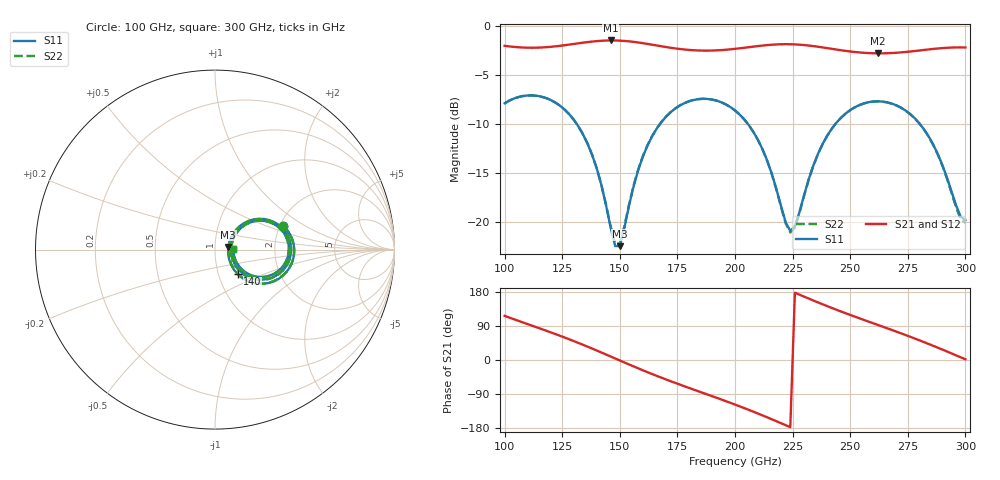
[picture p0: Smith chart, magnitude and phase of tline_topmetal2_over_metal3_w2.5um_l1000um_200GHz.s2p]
#  GHZ S DB R 50
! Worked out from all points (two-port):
!   101 points, 100 GHz to 300 GHz, reference 50 ohm
!   highest |S21| = -1.51 dB at 146 GHz (marker M1); lowest = -2.8 dB at 262 GHz (marker M2)
!   |S21| within 3 dB of the highest: start of sweep to end of sweep
!   lowest |S11| = -22.4 dB at 150 GHz (marker M3), VSWR 1.16, Z = 58 + j1.66 ohm
!   |S11| at or under -10 dB: 131.3 GHz to 167.5 GHz (36.24 GHz wide, 24.3 % of centre); 205.5 GHz to 243.6 GHz (38.08 GHz wide, 17 % of centre); 280.2 GHz to end of sweep
!   |S22| runs from -22.2 to -7.1 dB; largest |S21 - S12| = 8.9e-14
!   S11 on the Smith chart (normalised r, x): 100 GHz: 2.08, +0.66; 140 GHz: 1.24, -0.35; 300 GHz: 1.23, +0.01
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100  -7.91 19.2  -2.06 116.4  -2.06 116.4  -7.91 19.3
110  -7.11 1.0  -2.25 94.7  -2.25 94.7  -7.11 1.1
118  -7.38 -13.5  -2.20 77.4  -2.20 77.4  -7.38 -13.3
134  -11.05 -41.4  -1.74 40.2  -1.74 40.2  -11.05 -41.0
140  -14.55 -47.3  -1.58 25.0  -1.58 25.0  -14.53 -46.7
146  -20.55 -33.6  -1.51 9.3  -1.51 9.3  -20.41 -32.7
148  -22.44 -14.6  -1.51 4.0  -1.51 4.0  -22.20 -13.9
150  -22.45 10.9  -1.53 -1.3  -1.53 -1.3  -22.18 10.6
158  -14.70 43.7  -1.72 -22.0  -1.72 -22.0  -14.64 43.0
168  -9.84 32.0  -2.10 -46.5  -2.10 -46.5  -9.82 31.5
184  -7.49 4.4  -2.53 -82.3  -2.53 -82.3  -7.48 4.1
200  -8.64 -23.1  -2.37 -117.6  -2.37 -117.6  -8.63 -23.5
212  -12.62 -39.7  -2.03 -146.3  -2.03 -146.3  -12.63 -40.2
224  -20.91 -3.5  -1.89 -177.2  -1.89 -177.2  -21.05 -3.7
226  -20.43 14.9  -1.91 177.6  -1.91 177.6  -20.56 14.9
234  -14.24 39.8  -2.09 157.0  -2.09 157.0  -14.27 40.0
248  -8.95 23.7  -2.57 123.5  -2.57 123.5  -8.96 23.7
262  -7.70 0.6  -2.82 92.6  -2.82 92.6  -7.71 0.4
268  -7.93 -9.4  -2.79 79.4  -2.79 79.4  -7.94 -9.7
284  -11.26 -33.3  -2.43 42.5  -2.43 42.5  -11.29 -33.8
292  -15.47 -35.2  -2.26 22.5  -2.26 22.5  -15.57 -36.1
300  -19.81 2.6  -2.23 1.9  -2.23 1.9  -20.10 2.7
